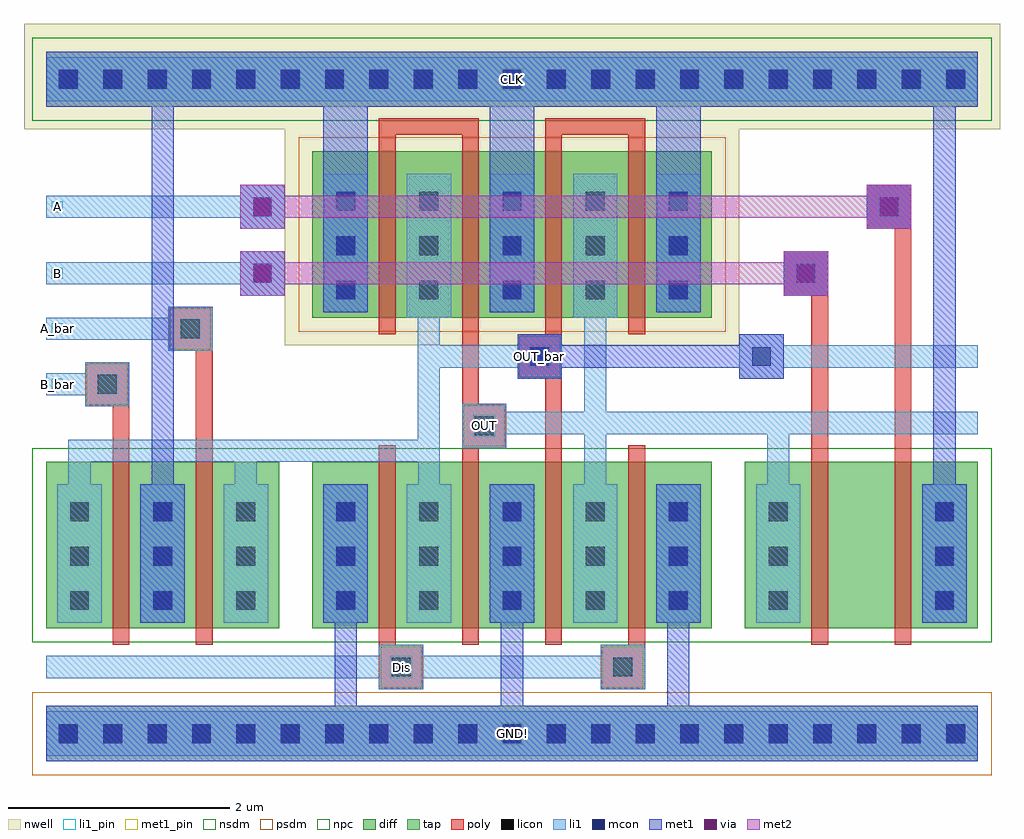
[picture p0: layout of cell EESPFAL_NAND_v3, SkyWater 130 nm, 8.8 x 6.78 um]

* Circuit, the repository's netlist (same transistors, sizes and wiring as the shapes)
* NGSPICE file created from EESPFAL_NAND_v3.ext - technology: sky130A

.subckt EESPFAL_NAND_v3 A A_bar B B_bar OUT OUT_bar Dis GND CLK
X0 CLK OUT_bar OUT CLK sky130_fd_pr__pfet_01v8 ad=2.7e+12p pd=1.26e+07u as=9e+11p ps=4.2e+06u w=1.5e+06u l=150000u M=2
X1 CLK A a_n2940_320# GND sky130_fd_pr__nfet_01v8 ad=6e+12p pd=2.62e+07u as=9e+11p ps=4.2e+06u w=1.5e+06u l=150000u
X2 CLK OUT OUT_bar CLK sky130_fd_pr__pfet_01v8 ad=0p pd=0u as=9e+11p ps=4.2e+06u w=1.5e+06u l=150000u M=2
X3 CLK B_bar OUT_bar GND sky130_fd_pr__nfet_01v8 ad=0p pd=0u as=2.7e+12p ps=1.26e+07u w=1.5e+06u l=150000u
X4 OUT OUT_bar GND GND sky130_fd_pr__nfet_01v8 ad=1.8e+12p pd=8.4e+06u as=2.7e+12p ps=1.26e+07u w=1.5e+06u l=150000u
X5 OUT_bar Dis GND GND sky130_fd_pr__nfet_01v8 ad=0p pd=0u as=0p ps=0u w=1.5e+06u l=150000u
X6 OUT_bar A_bar CLK GND sky130_fd_pr__nfet_01v8 ad=0p pd=0u as=0p ps=0u w=1.5e+06u l=150000u
X7 a_n2940_320# B OUT GND sky130_fd_pr__nfet_01v8 ad=0p pd=0u as=0p ps=0u w=1.5e+06u l=150000u
X8 GND Dis OUT GND sky130_fd_pr__nfet_01v8 ad=0p pd=0u as=0p ps=0u w=1.5e+06u l=150000u
X9 GND OUT OUT_bar GND sky130_fd_pr__nfet_01v8 ad=0p pd=0u as=0p ps=0u w=1.5e+06u l=150000u
.ends

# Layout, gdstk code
import gdstk
lib = gdstk.Library(unit=1e-6, precision=1e-09)
def R(c, l, rs):  # rectangles x0, y0, x1, y1
    for r in rs: c.add(gdstk.rectangle(r[:2], r[2:], *l))
def A(c, l, x, y, w, h, nx, ny, dx, dy):  # array of equal rectangles
    R(c, l, [(x+i*dx, y+j*dy, x+i*dx+w, y+j*dy+h) for i in range(nx) for j in range(ny)])
def P(c, l, *ps):  # polygons
    for p in ps: c.add(gdstk.Polygon(p, *l))
nwell = (64, 20)
diff = (65, 20)
tap = (65, 44)
poly = (66, 20)
licon = (66, 44)
li1_pin = (67, 16)
li1 = (67, 20)
mcon = (67, 44)
met1_pin = (68, 16)
met1 = (68, 20)
via = (68, 44)
met2 = (69, 20)
nsdm = (93, 44)
psdm = (94, 20)
npc = (95, 20)

eespfal_nand_v3 = lib.new_cell('EESPFAL_NAND_v3')
R(eespfal_nand_v3, nwell, [(-19.6,4.15,-15.5,6.1), (-21.95,6.1,-13.15,7.05)])
R(eespfal_nand_v3, diff, [(-21.75,1.6,-19.65,3.1), (-19.35,1.6,-15.75,3.1), (-15.45,1.6,-13.35,3.1), (-19.35,4.4,-15.75,5.9)])
R(eespfal_nand_v3, tap, [(-21.75,0.4,-13.35,0.9), (-21.75,6.3,-13.35,6.8)])
R(eespfal_nand_v3, poly, [(-18.75,1.05,-18.35,1.45), (-16.75,1.05,-16.35,1.45), (-21.15,1.45,-21,3.6), (-20.4,1.45,-20.25,4.1), (-18.75,1.45,-18.6,3.25), (-18,1.45,-17.85,3.25), (-17.25,1.45,-17.1,3.85), (-16.5,1.45,-16.35,3.25), (-14.85,1.45,-14.7,4.6), (-14.1,1.45,-13.95,5.2), (-18,3.225,-17.6,3.625), (-21.4,3.6,-21,4), (-18,3.625,-17.85,6.05), (-17.5,3.85,-17.1,4.25), (-20.65,4.1,-20.25,4.5), (-18.75,4.25,-18.6,6.05), (-17.25,4.25,-17.1,6.05), (-16.5,4.25,-16.35,6.05), (-15.1,4.6,-14.7,5), (-14.35,5.2,-13.95,5.6), (-18.75,6.05,-17.85,6.2), (-17.25,6.05,-16.35,6.2)])
A(eespfal_nand_v3, licon, -21.635, 0.565, 0.17, 0.17, 21, 2, 0.4, 5.9)
A(eespfal_nand_v3, licon, -21.535, 1.765, 0.17, 0.17, 3, 3, 0.75, 0.4)
A(eespfal_nand_v3, licon, -19.135, 1.765, 0.17, 0.17, 5, 3, 0.75, 0.4)
A(eespfal_nand_v3, licon, -15.235, 1.765, 0.17, 0.17, 1, 3, 0, 0.4)
A(eespfal_nand_v3, licon, -13.735, 1.765, 0.17, 0.17, 1, 3, 0, 0.4)
A(eespfal_nand_v3, licon, -19.135, 4.565, 0.17, 0.17, 5, 3, 0.75, 0.4)
R(eespfal_nand_v3, licon, [(-18.635,1.165,-18.465,1.335), (-16.635,1.165,-16.465,1.335), (-17.885,3.34,-17.715,3.51), (-21.285,3.715,-21.115,3.885), (-17.385,3.965,-17.215,4.135), (-20.535,4.215,-20.365,4.385), (-14.985,4.715,-14.815,4.885), (-14.235,5.315,-14.065,5.485)])
A(eespfal_nand_v3, li1_pin, -21.7, 3.75, 0.1, 0.1, 1, 3, 0, 0.5)
R(eespfal_nand_v3, li1_pin, [(-18.65,1.15,-18.45,1.35), (-17.9,3.325,-17.7,3.525), (-21.7,5.35,-21.6,5.45)])
A(eespfal_nand_v3, li1, -21.65, 1.65, 0.4, 1.25, 3, 1, 0.75, 0)
A(eespfal_nand_v3, li1, -19.25, 1.65, 0.4, 1.25, 5, 1, 0.75, 0)
A(eespfal_nand_v3, li1, -19.25, 4.45, 0.4, 1.25, 3, 1, 1.5, 0)
A(eespfal_nand_v3, li1, -20, 4.6, 0.4, 0.1, 1, 4, 0, 0.3)
R(eespfal_nand_v3, li1, [(-21.75,0.45,-13.35,0.85), (-18.75,1.05,-18.35,1.15), (-16.75,1.05,-16.35,1.15), (-21.75,1.15,-16.35,1.35), (-18.75,1.35,-18.35,1.45), (-16.75,1.35,-16.35,1.45), (-15.35,1.65,-14.95,2.9), (-13.85,1.65,-13.45,2.9), (-18,3.225,-17.6,3.625), (-21.4,3.6,-21,3.7), (-21.75,3.7,-21,3.9), (-17.5,3.85,-17.1,3.95), (-15.5,3.85,-15.1,3.95), (-21.4,3.9,-21,4), (-15.5,3.95,-13.35,4.15), (-20.65,4.1,-20.25,4.2), (-17.5,4.15,-17.1,4.25), (-15.5,4.15,-15.1,4.25), (-21.75,4.2,-20.25,4.4), (-20.65,4.4,-20.25,4.5), (-18.5,4.4,-18.1,5.7), (-17,4.4,-16.6,5.7), (-15.1,4.6,-14.7,5), (-21.75,4.7,-19.6,4.9), (-14.35,5.2,-13.95,5.6), (-21.75,5.3,-19.6,5.5), (-21.75,6.35,-13.35,6.75)])
P(eespfal_nand_v3, li1, [(-16.9,2.9),(-16.9,3.35),(-17.6,3.35),(-17.6,3.55),(-16.9,3.55),(-16.9,4.4),(-16.7,4.4),(-16.7,3.55),(-13.35,3.55),(-13.35,3.35),(-15.05,3.35),(-15.05,2.9),(-15.25,2.9),(-15.25,3.35),(-16.7,3.35),(-16.7,2.9)],
  [(-21.55,2.9),(-21.55,3.3),(-18.4,3.3),(-18.4,4.4),(-18.2,4.4),(-18.2,4.15),(-17.1,4.15),(-17.1,3.95),(-18.2,3.95),(-18.2,2.9),(-18.395,2.9),(-18.395,3.1),(-19.85,3.1),(-19.85,2.9),(-20.05,2.9),(-20.05,3.1),(-21.35,3.1),(-21.35,2.9)])
A(eespfal_nand_v3, mcon, -21.635, 0.565, 0.17, 0.17, 21, 2, 0.4, 5.9)
A(eespfal_nand_v3, mcon, -20.785, 1.765, 0.17, 0.17, 1, 3, 0, 0.4)
A(eespfal_nand_v3, mcon, -19.135, 1.765, 0.17, 0.17, 3, 3, 1.5, 0.4)
A(eespfal_nand_v3, mcon, -13.735, 1.765, 0.17, 0.17, 1, 3, 0, 0.4)
A(eespfal_nand_v3, mcon, -19.135, 4.565, 0.17, 0.17, 3, 3, 1.5, 0.4)
R(eespfal_nand_v3, mcon, [(-17.385,3.965,-17.215,4.135), (-15.385,3.965,-15.215,4.135), (-19.885,4.715,-19.715,4.885), (-14.985,4.715,-14.815,4.885), (-19.885,5.315,-19.715,5.485), (-14.235,5.315,-14.065,5.485)])
R(eespfal_nand_v3, met1_pin, [(-17.65,0.55,-17.45,0.75), (-17.4,3.95,-17.2,4.15), (-17.65,6.45,-17.45,6.65)])
A(eespfal_nand_v3, met1, -19.15, 0.9, 0.2, 0.75, 3, 1, 1.5, 0)
A(eespfal_nand_v3, met1, -19.25, 1.65, 0.4, 1.25, 3, 1, 1.5, 0)
A(eespfal_nand_v3, met1, -19.25, 4.45, 0.4, 1.85, 3, 1, 1.5, 0)
R(eespfal_nand_v3, met1, [(-21.75,0.4,-13.35,0.9), (-20.9,1.65,-20.5,2.9), (-13.85,1.65,-13.45,2.9), (-20.8,2.9,-20.6,6.3), (-13.75,2.9,-13.55,6.3), (-17.5,3.85,-17.1,3.95), (-15.5,3.85,-15.1,3.95), (-17.5,3.95,-15.1,4.15), (-17.5,4.15,-17.1,4.25), (-15.5,4.15,-15.1,4.25), (-20,4.6,-19.6,5), (-15.1,4.6,-14.7,5), (-20,5.2,-19.6,5.6), (-14.35,5.2,-13.95,5.6), (-21.75,6.3,-13.35,6.8)])
R(eespfal_nand_v3, via, [(-19.875,4.725,-19.725,4.875), (-14.975,4.725,-14.825,4.875), (-19.875,5.325,-19.725,5.475), (-14.225,5.325,-14.075,5.475)])
A(eespfal_nand_v3, met2, -20, 4.6, 0.4, 0.1, 1, 4, 0, 0.3)
R(eespfal_nand_v3, met2, [(-15.1,4.6,-14.7,4.7), (-20,4.7,-14.7,4.9), (-15.1,4.9,-14.7,5), (-14.35,5.2,-13.95,5.3), (-20,5.3,-13.95,5.5), (-14.35,5.5,-13.95,5.6)])
R(eespfal_nand_v3, nsdm, [(-21.875,1.475,-13.225,3.225), (-21.875,6.175,-13.225,6.925)])
R(eespfal_nand_v3, psdm, [(-21.875,0.275,-13.225,1.025), (-19.475,4.275,-15.625,6.025)])
R(eespfal_nand_v3, npc, [(-18.735,1.065,-18.365,1.435), (-16.735,1.065,-16.365,1.435), (-17.985,3.24,-17.615,3.61), (-21.385,3.615,-21.015,3.985), (-17.485,3.865,-17.115,4.235), (-20.635,4.115,-20.265,4.485), (-15.085,4.615,-14.715,4.985), (-14.335,5.215,-13.965,5.585)])
eespfal_nand_v3.add(gdstk.Label('OUT', (-17.8,3.425), layer=67, texttype=16))
eespfal_nand_v3.add(gdstk.Label('A', (-21.65,5.4), layer=67, texttype=16))
eespfal_nand_v3.add(gdstk.Label('A_bar', (-21.65,4.3), layer=67, texttype=16))
eespfal_nand_v3.add(gdstk.Label('B', (-21.65,4.8), layer=67, texttype=16))
eespfal_nand_v3.add(gdstk.Label('B_bar', (-21.65,3.8), layer=67, texttype=16))
eespfal_nand_v3.add(gdstk.Label('Dis', (-18.55,1.25), layer=67, texttype=16))
eespfal_nand_v3.add(gdstk.Label('OUT_bar', (-17.3,4.05), layer=68, texttype=16))
eespfal_nand_v3.add(gdstk.Label('GND!', (-17.55,0.65), layer=68, texttype=16))
eespfal_nand_v3.add(gdstk.Label('CLK', (-17.55,6.55), layer=68, texttype=16))

lib.write_gds('EESPFAL_NAND_v3.gds')
